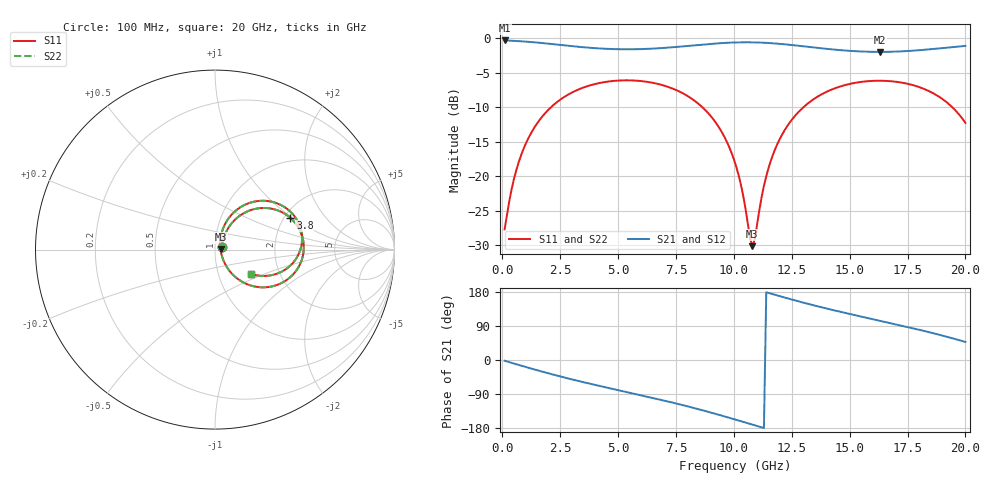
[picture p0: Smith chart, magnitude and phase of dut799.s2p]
! Touchstone file exported from HFSS 2026.1.0
!  File:  C:/ffzhzh/LocalFiles/Ansys_Project_Files/temp_train_TSV_RDL_799_1783262609_30076.aedt
!  Generated:  11:01:46 PM Jul  5, 2026
!  Design:  TSV_RDL
!  Project:  temp_train_TSV_RDL_799_1783262609_30076
! Variables:
!  h_bsmrdl = 3.8um
!  h_ox = 20um
!  h_rdl = 5um
!  h_sub = 86.35um
!  h_tmrdl = 3.9um
!  h_tsv = 86.35um
!  h_via = 3um
!  l_bsmrdl = 425.77um
!  l_sub = 5111.27um
!  l_tmrdl = 831.07um
!  m_sub = 200um
!  pitch = 33.7um
!  r_tsv = 3.12um
!  s_tmrdl = 10um
!  w_bsmrdl = 25.07um
!  w_sub = 500um
!  w_tmrdl = 11.49um
!  x_tsv_center1 = 836.815um
!  x_tsv_center2 = 1287.655um
!  x_tsv_center3 = 2130.215um
!  x_tsv_center4 = 2581.055um
!  x_tsv_center5 = 3423.615um
!  x_tsv_center6 = 3874.455um
# GHz S MA R 50.000000
! Terminal data exported
! Port[1] = TM_RDL1_1_T1
! Port[2] = TM_RDL5_1_T1
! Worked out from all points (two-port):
!   200 points, 100 MHz to 20 GHz, reference 50 ohm
!   highest |S21| = -0.33 dB at 100 MHz (marker M1); lowest = -2.0 dB at 16.3 GHz (marker M2)
!   |S21| within 3 dB of the highest: start of sweep to end of sweep
!   lowest |S11| = -30.2 dB at 10.8 GHz (marker M3), VSWR 1.06, Z = 53.2 + j0.261 ohm
!   |S11| at or under -10 dB: start of sweep to 2.106 GHz; 8.637 GHz to 13.01 GHz (4.369 GHz wide, 40.4 % of centre); 19.43 GHz to end of sweep
!   |S22| runs from -30.2 to -6.1 dB; largest |S21 - S12| = 3.3e-14
!   S11 on the Smith chart (normalised r, x): 100 MHz: 1.08, +0.04; 3.8 GHz: 2.15, +0.96; 20 GHz: 1.44, -0.41
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0.1  0.04116 24.4  0.9629 -1.9  0.9629 -1.9  0.04116 24.4
! Gamma 0 0 0 0
! Port Impedance 50 0 50 0
0.6  0.1098 57.4  0.9545 -11.1  0.9545 -11.1  0.1098 57.4
1.2  0.1989 56.3  0.9395 -21.7  0.9395 -21.7  0.1989 56.3
2.2  0.3268 44.4  0.9049 -38.6  0.9049 -38.6  0.3268 44.4
3.5  0.4386 26.8  0.8598 -58.5  0.8598 -58.5  0.4386 26.8
3.8  0.4556 22.8  0.8516 -62.8  0.8516 -62.8  0.4556 22.8
5.3  0.495 3.4  0.8309 -83.6  0.8309 -83.6  0.495 3.4
6.8  0.4624 -16.0  0.8461 -104.4  0.8461 -104.4  0.4624 -16.0
8.8  0.2974 -43.4  0.9036 -135.2  0.9036 -135.2  0.2974 -43.4
9.5  0.2058 -52.3  0.9221 -147.1  0.9221 -147.1  0.2058 -52.2
10.1  0.1175 -55.9  0.9319 -157.8  0.9319 -157.8  0.1175 -55.8
10.8  0.03107 4.5  0.9332 -170.4  0.9332 -170.4  0.03108 4.5
10.9  0.0345 30.8  0.9324 -172.3  0.9324 -172.3  0.03451 30.8
11.3  0.08508 66.6  0.927 -179.5  0.927 -179.5  0.08509 66.6
11.8  0.1593 68.2  0.9154 171.6  0.9154 171.6  0.1594 68.2
12.5  0.2558 61.0  0.8925 159.6  0.8925 159.6  0.2558 61.0
13.4  0.357 49.1  0.8586 145.1  0.8586 145.1  0.357 49.1
14.7  0.4522 32.0  0.8166 125.8  0.8166 125.8  0.4523 32.0
16.3  0.4917 12.0  0.7957 103.7  0.7957 103.7  0.4917 12.0
16.7  0.4888 7.0  0.7969 98.3  0.7969 98.3  0.4889 7.0
18.6  0.3997 -17.0  0.835 70.8  0.835 70.8  0.3997 -17.1
20  0.2433 -33.9  0.879 47.7  0.879 47.7  0.2432 -34.0
